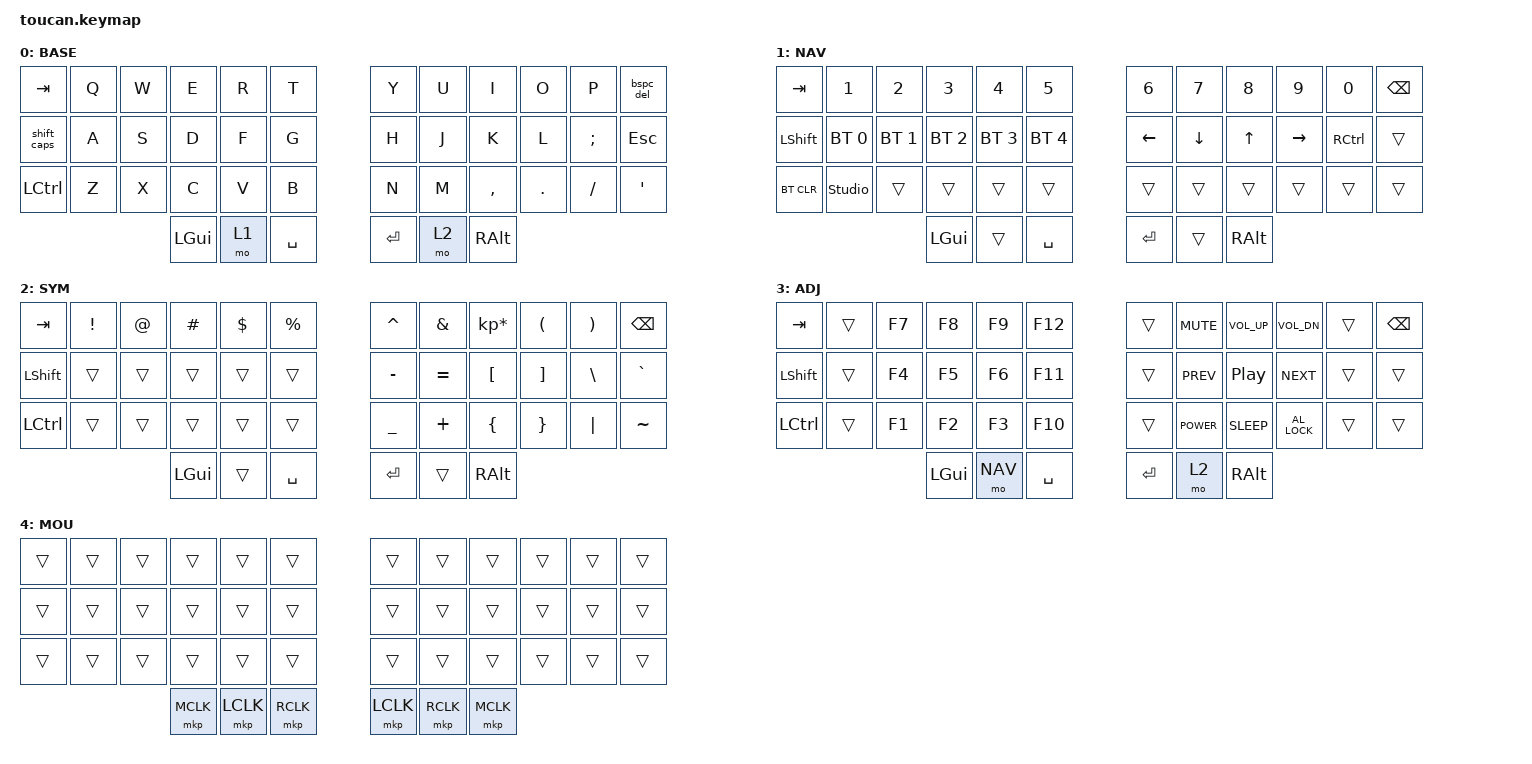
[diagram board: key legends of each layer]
#include <behaviors.dtsi>
#include <dt-bindings/zmk/bt.h>
#include <dt-bindings/zmk/keys.h>
#include <dt-bindings/zmk/pointing.h>

#define BASE 0
#define NAV  1
#define SYM  2
#define ADJ  3

/ {
    behaviors {
        bspc_del: backspace_delete {
            compatible = "zmk,behavior-mod-morph";
            #binding-cells = <0>;
            bindings = <&kp BACKSPACE>, <&kp DELETE>;
            mods = <(MOD_LSFT|MOD_RSFT)>;
        };

        shift_caps: shift_caps {
            compatible = "zmk,behavior-tap-dance";
            #binding-cells = <0>;
            tapping-term-ms = <200>;
            bindings = <&kp LSHIFT>, <&kp CAPSLOCK>;
        };
    };

    conditional_layers {
        compatible = "zmk,conditional-layers";

        tri_layer {
            if-layers = <1 2>;
            then-layer = <3>;
        };
    };


    keymap {
        compatible = "zmk,keymap";

        base {
            display-name = "BASE";
            bindings = <
//    ┌─────────────┬───┬───┬───┬───┬───┐                                           ┌───┬───┬───┬───┬───┬───────────┐
//    │     tab     │ Q │ W │ E │ R │ T │                                           │ Y │ U │ I │ O │ P │ &bspc_del │
//    ├─────────────┼───┼───┼───┼───┼───┤                                           ├───┼───┼───┼───┼───┼───────────┤
//    │ &shift_caps │ A │ S │ D │ F │ G │                                           │ H │ J │ K │ L │ ; │    esc    │
//    ├─────────────┼───┼───┼───┼───┼───┤                                           ├───┼───┼───┼───┼───┼───────────┤
//    │    lctl     │ Z │ X │ C │ V │ B │                                           │ N │ M │ , │ . │ / │     '     │
//    └─────────────┴───┴───┴───┴───┴───┼──────┬──────┬─────┐   ┌─────┬──────┬──────┼───┴───┴───┴───┴───┴───────────┘
//                                      │ lgui │ mo 1 │ spc │   │ ent │ mo 2 │ ralt │
//                                      └──────┴──────┴─────┘   └─────┴──────┴──────┘
  &kp TAB       &kp Q   &kp W   &kp E   &kp R   &kp T                                                                   &kp Y   &kp U   &kp I       &kp O     &kp P      &bspc_del
  &shift_caps   &kp A   &kp S   &kp D   &kp F   &kp G                                                                   &kp H   &kp J   &kp K       &kp L     &kp SEMI   &kp ESC
  &kp LCTRL     &kp Z   &kp X   &kp C   &kp V   &kp B                                                                   &kp N   &kp M   &kp COMMA   &kp DOT   &kp FSLH   &kp SQT
                                                        &kp LGUI   &mo 1   &kp SPACE       &kp RET   &mo 2   &kp RALT
            >;
        };

        nav {
            display-name = "NAV";
            bindings = <
//    ┌────────┬────────────────┬──────────┬──────────┬──────────┬──────────┐                                         ┌──────┬──────┬─────┬──────┬──────┬──────┐
//    │  tab   │       1        │    2     │    3     │    4     │    5     │                                         │  6   │  7   │  8  │  9   │  0   │ bspc │
//    ├────────┼────────────────┼──────────┼──────────┼──────────┼──────────┤                                         ├──────┼──────┼─────┼──────┼──────┼──────┤
//    │  lsft  │    bt_sel 0    │ bt_sel 1 │ bt_sel 2 │ bt_sel 3 │ bt_sel 4 │                                         │ left │ down │ up  │ rght │ rctl │      │
//    ├────────┼────────────────┼──────────┼──────────┼──────────┼──────────┤                                         ├──────┼──────┼─────┼──────┼──────┼──────┤
//    │ bt_clr │ &studio_unlock │          │          │          │          │                                         │      │      │     │      │      │      │
//    └────────┴────────────────┴──────────┴──────────┴──────────┴──────────┼──────┬─────┬─────┐   ┌─────┬─────┬──────┼──────┴──────┴─────┴──────┴──────┴──────┘
//                                                                          │ lgui │     │ spc │   │ ent │     │ ralt │
//                                                                          └──────┴─────┴─────┘   └─────┴─────┴──────┘
  &kp TAB      &kp N1           &kp N2         &kp N3         &kp N4         &kp N5                                                                           &kp N6     &kp N7     &kp N8   &kp N9      &kp N0      &kp BSPC
  &kp LSHFT    &bt BT_SEL 0     &bt BT_SEL 1   &bt BT_SEL 2   &bt BT_SEL 3   &bt BT_SEL 4                                                                     &kp LEFT   &kp DOWN   &kp UP   &kp RIGHT   &kp RCTRL   &trans
  &bt BT_CLR   &studio_unlock   &trans         &trans         &trans         &trans                                                                           &trans     &trans     &trans   &trans      &trans      &trans
                                                                                            &kp LGUI   &trans   &kp SPACE       &kp RET   &trans   &kp RALT
            >;
        };

        sym {
            display-name = "SYM";
            bindings = <
//    ┌──────┬─────┬─────┬─────┬─────┬─────┐                                         ┌───┬───┬──────┬───┬───┬──────┐
//    │ tab  │  !  │  @  │  #  │  $  │  %  │                                         │ ^ │ & │ kp_* │ ( │ ) │ bspc │
//    ├──────┼─────┼─────┼─────┼─────┼─────┤                                         ├───┼───┼──────┼───┼───┼──────┤
//    │ lsft │     │     │     │     │     │                                         │ - │ = │  [   │ ] │ \ │  `   │
//    ├──────┼─────┼─────┼─────┼─────┼─────┤                                         ├───┼───┼──────┼───┼───┼──────┤
//    │ lctl │     │     │     │     │     │                                         │ _ │ + │  {   │ } │ | │  ~   │
//    └──────┴─────┴─────┴─────┴─────┴─────┼──────┬─────┬─────┐   ┌─────┬─────┬──────┼───┴───┴──────┴───┴───┴──────┘
//                                         │ lgui │     │ spc │   │ ent │     │ ralt │
//                                         └──────┴─────┴─────┘   └─────┴─────┴──────┘
  &kp TAB     &kp EXCL   &kp AT   &kp HASH   &kp DLLR   &kp PRCNT                                                                     &kp CARET   &kp AMPS    &kp KP_MULTIPLY   &kp LPAR   &kp RPAR   &kp BSPC
  &kp LSHFT   &trans     &trans   &trans     &trans     &trans                                                                        &kp MINUS   &kp EQUAL   &kp LBKT          &kp RBKT   &kp BSLH   &kp GRAVE
  &kp LCTRL   &trans     &trans   &trans     &trans     &trans                                                                        &kp UNDER   &kp PLUS    &kp LBRC          &kp RBRC   &kp PIPE   &kp TILDE
                                                                    &kp LGUI   &trans   &kp SPACE       &kp RET   &trans   &kp RALT
            >;
        };

        adj {
            display-name = "ADJ";
            bindings = <
//    ┌──────┬─────┬────┬────┬────┬─────┐                                             ┌─────┬──────┬───────┬───────────┬─────┬──────┐
//    │ tab  │     │ f7 │ f8 │ f9 │ f12 │                                             │     │ mute │ volu  │   vold    │     │ bspc │
//    ├──────┼─────┼────┼────┼────┼─────┤                                             ├─────┼──────┼───────┼───────────┼─────┼──────┤
//    │ lsft │     │ f4 │ f5 │ f6 │ f11 │                                             │     │ prev │ play  │   next    │     │      │
//    ├──────┼─────┼────┼────┼────┼─────┤                                             ├─────┼──────┼───────┼───────────┼─────┼──────┤
//    │ lctl │     │ f1 │ f2 │ f3 │ f10 │                                             │     │ pwr  │ sleep │ term_lock │     │      │
//    └──────┴─────┴────┴────┴────┴─────┼──────┬────────┬─────┐   ┌─────┬──────┬──────┼─────┴──────┴───────┴───────────┴─────┴──────┘
//                                      │ lgui │ mo NAV │ spc │   │ ent │ mo 2 │ ralt │
//                                      └──────┴────────┴─────┘   └─────┴──────┴──────┘
  &kp TAB     &trans   &kp F7   &kp F8   &kp F9   &kp F12                                                                     &trans   &kp C_MUTE    &kp C_VOL_UP       &kp C_VOL_DN    &trans   &kp BSPC
  &kp LSHFT   &trans   &kp F4   &kp F5   &kp F6   &kp F11                                                                     &trans   &kp C_PREV    &kp C_PLAY_PAUSE   &kp C_NEXT      &trans   &trans
  &kp LCTRL   &trans   &kp F1   &kp F2   &kp F3   &kp F10                                                                     &trans   &kp C_POWER   &kp C_SLEEP        &kp C_AL_LOCK   &trans   &trans
                                                            &kp LGUI   &mo NAV   &kp SPACE       &kp RET   &mo 2   &kp RALT
            >;
        };

        mouse {
            display-name = "MOU";
            bindings = <
//    ┌─────┬─────┬─────┬─────┬─────┬─────┐                                             ┌─────┬─────┬─────┬─────┬─────┬─────┐
//    │     │     │     │     │     │     │                                             │     │     │     │     │     │     │
//    ├─────┼─────┼─────┼─────┼─────┼─────┤                                             ├─────┼─────┼─────┼─────┼─────┼─────┤
//    │     │     │     │     │     │     │                                             │     │     │     │     │     │     │
//    ├─────┼─────┼─────┼─────┼─────┼─────┤                                             ├─────┼─────┼─────┼─────┼─────┼─────┤
//    │     │     │     │     │     │     │                                             │     │     │     │     │     │     │
//    └─────┴─────┴─────┴─────┴─────┴─────┼──────┬──────┬──────┐   ┌──────┬──────┬──────┼─────┴─────┴─────┴─────┴─────┴─────┘
//                                        │ mclk │ lclk │ rclk │   │ lclk │ rclk │ mclk │
//                                        └──────┴──────┴──────┘   └──────┴──────┴──────┘
  &trans   &trans   &trans   &trans   &trans   &trans                                                                               &trans   &trans   &trans   &trans   &trans   &trans
  &trans   &trans   &trans   &trans   &trans   &trans                                                                               &trans   &trans   &trans   &trans   &trans   &trans
  &trans   &trans   &trans   &trans   &trans   &trans                                                                               &trans   &trans   &trans   &trans   &trans   &trans
                                                        &mkp MCLK   &mkp LCLK   &mkp RCLK       &mkp LCLK   &mkp RCLK   &mkp MCLK
            >;
        };
    };
};
